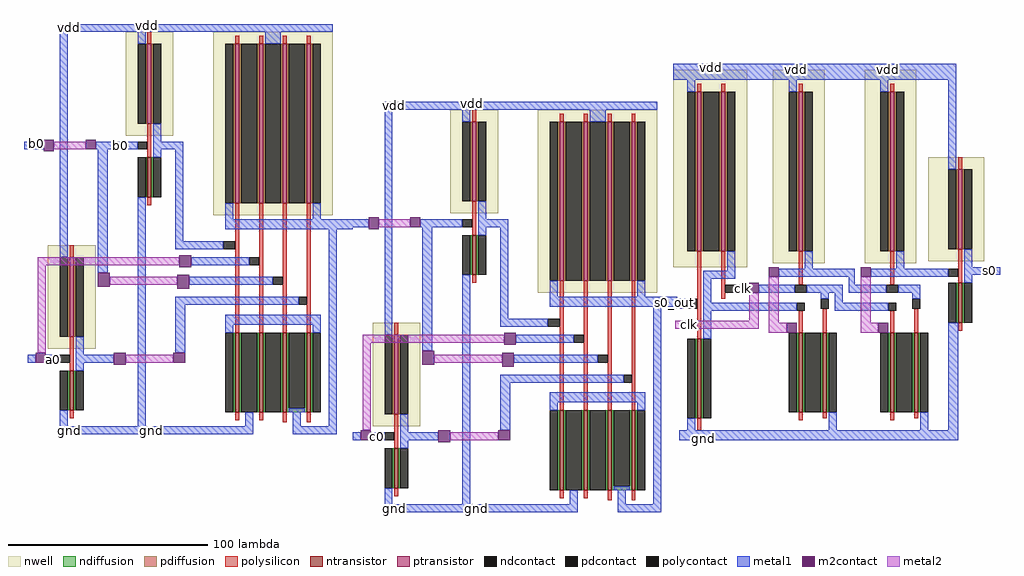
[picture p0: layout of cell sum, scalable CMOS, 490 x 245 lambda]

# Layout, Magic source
magic
tech scmos
<< nwell >>
rect 222 151 246 203
rect 266 111 326 203
rect 385 112 409 164
rect 183 44 207 96
rect 429 72 489 164
rect 497 85 534 184
rect 547 87 573 184
rect 593 87 619 184
rect 625 88 653 140
rect 346 5 370 57
<< ntransistor >>
rect 233 120 235 140
rect 396 81 398 101
rect 194 13 196 33
rect 277 12 279 52
rect 289 12 291 52
rect 301 12 303 52
rect 313 12 315 52
rect 640 57 642 77
rect 357 -26 359 -6
rect 440 -27 442 13
rect 452 -27 454 13
rect 464 -27 466 13
rect 476 -27 478 13
rect 509 9 511 49
rect 560 12 562 52
rect 572 12 574 52
rect 606 12 608 52
rect 618 12 620 52
<< ptransistor >>
rect 233 157 235 197
rect 277 117 279 197
rect 289 117 291 197
rect 301 117 303 197
rect 313 117 315 197
rect 396 118 398 158
rect 194 50 196 90
rect 440 78 442 158
rect 452 78 454 158
rect 464 78 466 158
rect 476 78 478 158
rect 509 93 511 173
rect 521 93 523 173
rect 560 93 562 173
rect 606 93 608 173
rect 640 94 642 134
rect 357 11 359 51
<< ndiffusion >>
rect 232 120 233 140
rect 235 120 236 140
rect 395 81 396 101
rect 398 81 399 101
rect 193 13 194 33
rect 196 13 197 33
rect 276 12 277 52
rect 279 12 280 52
rect 288 12 289 52
rect 291 12 292 52
rect 300 12 301 52
rect 303 14 304 52
rect 312 14 313 52
rect 303 12 313 14
rect 315 12 316 52
rect 639 57 640 77
rect 642 57 643 77
rect 356 -26 357 -6
rect 359 -26 360 -6
rect 439 -27 440 13
rect 442 -27 443 13
rect 451 -27 452 13
rect 454 -27 455 13
rect 463 -27 464 13
rect 466 -25 467 13
rect 475 -25 476 13
rect 466 -27 476 -25
rect 478 -27 479 13
rect 508 9 509 49
rect 511 9 512 49
rect 559 12 560 52
rect 562 12 563 52
rect 571 12 572 52
rect 574 12 575 52
rect 605 12 606 52
rect 608 12 609 52
rect 617 12 618 52
rect 620 12 621 52
<< pdiffusion >>
rect 232 157 233 197
rect 235 157 236 197
rect 276 117 277 197
rect 279 117 280 197
rect 288 117 289 197
rect 291 117 292 197
rect 300 117 301 197
rect 303 117 304 197
rect 312 117 313 197
rect 315 117 316 197
rect 395 118 396 158
rect 398 118 399 158
rect 193 50 194 90
rect 196 50 197 90
rect 439 78 440 158
rect 442 78 443 158
rect 451 78 452 158
rect 454 78 455 158
rect 463 78 464 158
rect 466 78 467 158
rect 475 78 476 158
rect 478 78 479 158
rect 508 93 509 173
rect 511 93 512 173
rect 520 93 521 173
rect 523 93 524 173
rect 559 93 560 173
rect 562 93 563 173
rect 605 93 606 173
rect 608 93 609 173
rect 639 94 640 134
rect 642 94 643 134
rect 356 11 357 51
rect 359 11 360 51
<< ndcontact >>
rect 228 120 232 140
rect 236 120 240 140
rect 391 81 395 101
rect 399 81 403 101
rect 189 13 193 33
rect 197 13 201 33
rect 272 12 276 52
rect 280 12 288 52
rect 292 12 300 52
rect 304 14 312 52
rect 316 12 320 52
rect 635 57 639 77
rect 643 57 647 77
rect 352 -26 356 -6
rect 360 -26 364 -6
rect 435 -27 439 13
rect 443 -27 451 13
rect 455 -27 463 13
rect 467 -25 475 13
rect 479 -27 483 13
rect 504 9 508 49
rect 512 9 516 49
rect 555 12 559 52
rect 563 12 571 52
rect 575 12 579 52
rect 601 12 605 52
rect 609 12 617 52
rect 621 12 625 52
<< pdcontact >>
rect 228 157 232 197
rect 236 157 240 197
rect 272 117 276 197
rect 280 117 288 197
rect 292 117 300 197
rect 304 117 312 197
rect 316 117 320 197
rect 391 118 395 158
rect 399 118 403 158
rect 189 50 193 90
rect 197 50 201 90
rect 435 78 439 158
rect 443 78 451 158
rect 455 78 463 158
rect 467 78 475 158
rect 479 78 483 158
rect 504 93 508 173
rect 512 93 520 173
rect 524 93 528 173
rect 555 93 559 173
rect 563 93 567 173
rect 601 93 605 173
rect 609 93 613 173
rect 635 94 639 134
rect 643 94 647 134
rect 352 11 356 51
rect 360 11 364 51
<< polysilicon >>
rect 233 197 235 203
rect 277 197 279 201
rect 289 197 291 201
rect 301 197 303 201
rect 313 197 315 201
rect 233 140 235 157
rect 233 116 235 120
rect 509 173 511 177
rect 521 173 523 177
rect 560 173 562 177
rect 606 173 608 177
rect 396 158 398 164
rect 440 158 442 162
rect 452 158 454 162
rect 464 158 466 162
rect 476 158 478 162
rect 194 90 196 96
rect 277 52 279 117
rect 289 52 291 117
rect 301 52 303 117
rect 313 52 315 117
rect 396 101 398 118
rect 396 77 398 81
rect 640 134 642 140
rect 194 33 196 50
rect 194 9 196 13
rect 357 51 359 57
rect 277 8 279 12
rect 289 8 291 12
rect 301 7 303 12
rect 313 7 315 12
rect 440 13 442 78
rect 452 13 454 78
rect 464 13 466 78
rect 476 13 478 78
rect 509 49 511 93
rect 521 69 523 93
rect 560 76 562 93
rect 606 76 608 93
rect 640 77 642 94
rect 560 52 562 63
rect 572 52 574 64
rect 606 52 608 63
rect 618 52 620 64
rect 640 53 642 57
rect 357 -6 359 11
rect 357 -30 359 -26
rect 509 3 511 9
rect 560 8 562 12
rect 572 9 574 12
rect 606 8 608 12
rect 618 9 620 12
rect 440 -31 442 -27
rect 452 -31 454 -27
rect 464 -32 466 -27
rect 476 -32 478 -27
<< polycontact >>
rect 228 144 233 148
rect 271 94 277 98
rect 284 86 289 90
rect 296 76 301 80
rect 309 66 313 70
rect 391 105 396 109
rect 189 37 194 41
rect 434 55 440 59
rect 447 47 452 51
rect 459 37 464 41
rect 472 27 476 31
rect 503 64 509 69
rect 635 80 640 84
rect 523 72 529 76
rect 558 72 564 76
rect 604 72 610 76
rect 559 63 563 67
rect 571 64 575 69
rect 605 63 609 67
rect 617 64 621 69
rect 352 -2 357 2
<< metal1 >>
rect 189 203 326 207
rect 171 144 181 148
rect 189 90 193 203
rect 228 197 232 203
rect 292 197 300 203
rect 236 148 240 157
rect 207 144 228 148
rect 236 144 251 148
rect 208 82 213 144
rect 236 140 240 144
rect 173 37 177 41
rect 197 41 201 50
rect 182 37 189 41
rect 197 37 216 41
rect 197 33 201 37
rect 189 5 193 13
rect 228 5 232 120
rect 247 98 251 144
rect 497 179 639 187
rect 504 173 508 179
rect 555 173 559 179
rect 601 173 605 179
rect 272 109 276 117
rect 316 109 320 117
rect 352 164 489 168
rect 272 105 344 109
rect 272 104 336 105
rect 247 94 271 98
rect 255 86 284 90
rect 254 76 296 80
rect 247 66 309 70
rect 247 42 252 66
rect 272 56 320 61
rect 272 52 276 56
rect 316 52 320 56
rect 304 12 312 14
rect 282 5 286 12
rect 189 1 286 5
rect 306 5 310 12
rect 324 5 328 104
rect 352 51 356 164
rect 391 158 395 164
rect 455 158 463 164
rect 399 109 403 118
rect 370 105 391 109
rect 399 105 414 109
rect 371 43 376 105
rect 399 101 403 105
rect 306 1 328 5
rect 336 -2 340 2
rect 360 2 364 11
rect 345 -2 352 2
rect 360 -2 379 2
rect 360 -6 364 -2
rect 352 -34 356 -26
rect 391 -34 395 81
rect 410 59 414 105
rect 635 134 639 179
rect 524 83 528 93
rect 435 70 439 78
rect 479 70 483 78
rect 512 79 528 83
rect 563 84 567 93
rect 550 80 588 84
rect 609 84 613 93
rect 643 85 647 94
rect 596 80 635 84
rect 643 81 661 85
rect 435 69 499 70
rect 435 65 503 69
rect 410 55 434 59
rect 418 47 447 51
rect 417 37 459 41
rect 410 27 472 31
rect 410 3 415 27
rect 435 17 483 22
rect 435 13 439 17
rect 479 13 483 17
rect 467 -27 475 -25
rect 445 -34 449 -27
rect 352 -38 449 -34
rect 469 -34 473 -27
rect 487 -34 491 65
rect 498 64 503 65
rect 512 67 516 79
rect 529 72 535 76
rect 585 76 588 80
rect 643 77 647 81
rect 540 72 558 76
rect 564 72 582 76
rect 585 72 604 76
rect 610 72 621 76
rect 571 69 575 72
rect 512 63 559 67
rect 578 67 582 72
rect 617 69 621 72
rect 578 63 605 67
rect 512 49 516 63
rect 504 3 508 9
rect 575 3 579 12
rect 621 3 625 12
rect 635 3 640 57
rect 500 -2 640 3
rect 469 -38 491 -34
<< m2contact >>
rect 181 143 186 149
rect 202 144 207 149
rect 208 75 214 82
rect 177 37 182 42
rect 216 36 222 42
rect 344 104 349 110
rect 249 85 255 91
rect 248 74 254 81
rect 246 37 252 42
rect 365 105 370 110
rect 371 36 377 43
rect 340 -2 345 3
rect 379 -3 385 3
rect 545 80 550 85
rect 591 80 596 85
rect 412 46 418 52
rect 411 35 417 42
rect 409 -2 415 3
rect 535 72 540 77
rect 554 52 559 57
rect 600 52 605 57
<< metal2 >>
rect 186 144 202 148
rect 349 105 365 109
rect 178 86 249 90
rect 178 42 182 86
rect 214 76 248 80
rect 535 58 540 72
rect 498 54 540 58
rect 545 57 550 80
rect 591 57 596 80
rect 545 52 554 57
rect 591 52 600 57
rect 341 47 412 51
rect 222 37 246 41
rect 341 3 345 47
rect 377 37 411 41
rect 385 -2 409 2
<< labels >>
rlabel metal1 194 3 194 3 1 gnd
rlabel metal1 194 205 194 205 5 vdd
rlabel metal1 235 3 235 3 1 gnd
rlabel metal1 233 206 233 206 5 vdd
rlabel space 183 36 189 41 1 a0
rlabel metal1 216 144 223 148 1 b0
rlabel space 174 144 181 150 1 b0
rlabel metal1 357 -36 357 -36 1 gnd
rlabel metal1 357 166 357 166 5 vdd
rlabel metal1 398 -36 398 -36 1 gnd
rlabel metal1 396 167 396 167 5 vdd
rlabel metal1 346 -2 351 2 1 c0
rlabel metal1 532 74 532 74 1 clk
rlabel metal1 512 -1 512 -1 1 gnd
rlabel metal1 605 184 605 184 5 vdd
rlabel metal1 559 184 559 184 5 vdd
rlabel metal1 516 185 516 185 5 vdd
rlabel metal2 505 56 505 56 1 clk
rlabel metal1 653 81 658 85 1 s0
rlabel space 493 63 502 71 1 s0_out
<< end >>
